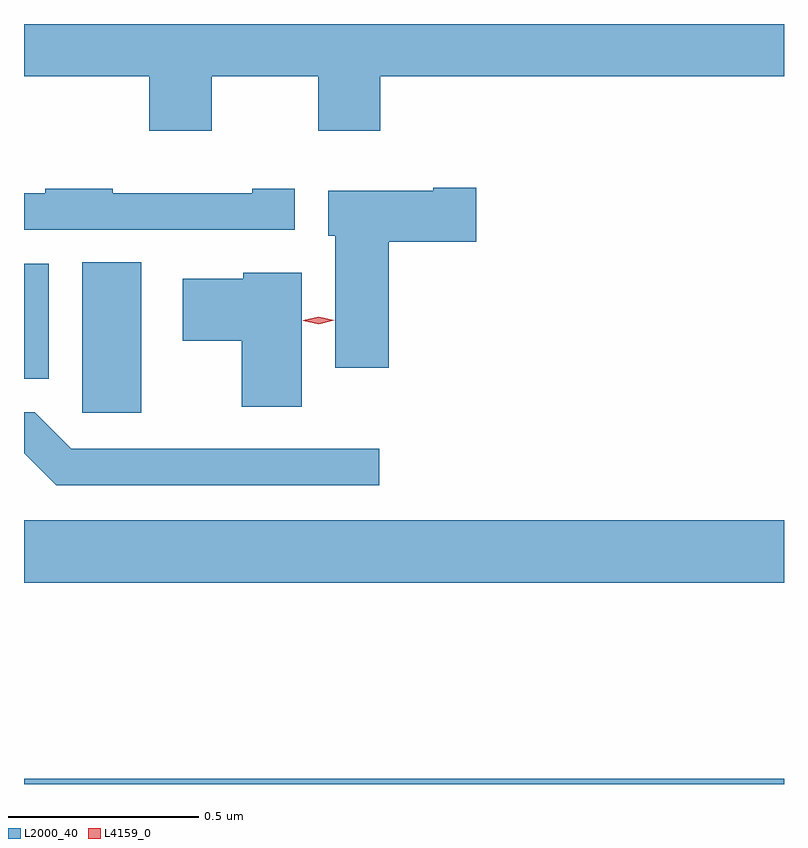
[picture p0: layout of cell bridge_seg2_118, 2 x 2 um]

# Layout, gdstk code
import gdstk
lib = gdstk.Library(unit=1e-6, precision=1e-09)
def R(c, l, rs):  # rectangles x0, y0, x1, y1
    for r in rs: c.add(gdstk.rectangle(r[:2], r[2:], *l))
def P(c, l, *ps):  # polygons
    for p in ps: c.add(gdstk.Polygon(p, *l))
L2000_40 = (2000, 40)
L4159_0 = (4159, 0)

bridge_seg2_118 = lib.new_cell('bridge_seg2_118')
R(bridge_seg2_118, L2000_40, [(472.235,635.118,474.235,635.132), (472.235,635.648,474.235,635.812), (472.388,636.095,472.543,636.491), (472.235,636.185,472.3,636.487)])
P(bridge_seg2_118, L2000_40, [(472.729,636.98),(473.009,636.98),(473.009,636.837),(473.173,636.837),(473.173,636.98),(474.235,636.98),(474.235,637.118),(472.235,637.118),(472.235,636.98),(472.565,636.98),(472.565,636.837),(472.729,636.837)],
  [(473.195,636.545),(473.425,636.545),(473.425,636.687),(473.312,636.687),(473.312,636.679),(473.036,636.679),(473.036,636.561),(473.054,636.561),(473.054,636.213),(473.195,636.213)],
  [(472.948,636.685),(472.835,636.685),(472.835,636.673),(472.469,636.673),(472.469,636.685),(472.291,636.685),(472.291,636.673),(472.235,636.673),(472.235,636.576),(472.948,636.576)],
  [(472.966,636.463),(472.812,636.463),(472.812,636.448),(472.653,636.448),(472.653,636.284),(472.808,636.284),(472.808,636.111),(472.966,636.111)],
  [(473.17,636),(472.359,636),(472.263,636.096),(472.235,636.096),(472.235,635.989),(472.32,635.904),(473.17,635.904)])
P(bridge_seg2_118, L4159_0, [(473.011,636.328),(472.97,636.337),(472.97,636.338),(472.97,636.338),(473.011,636.348),(473.051,636.338),(473.052,636.338),(473.051,636.338)])

lib.write_gds('bridge_seg2_118.gds')
